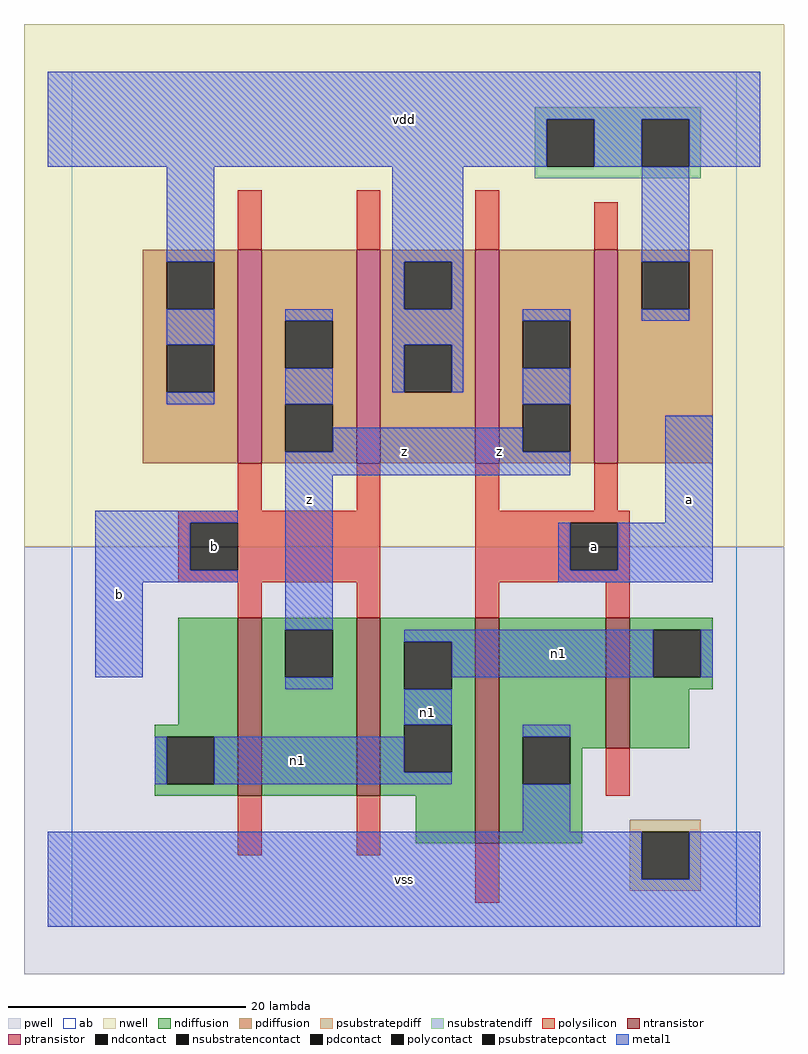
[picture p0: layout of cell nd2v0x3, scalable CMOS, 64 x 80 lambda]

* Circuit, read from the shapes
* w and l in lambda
.subckt nd2v0x3 a b n1 vdd vss z
M1 z b n1 vss nfet w=15 l=2 m=2
M2 vss a n1 vss nfet w=19 l=2
M3 n1 a vss vss nfet w=11 l=2
M4 z b vdd vdd pfet w=18 l=2 m=2
M5 z a vdd vdd pfet w=18 l=2 m=2
.ends

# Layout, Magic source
magic
tech scmos
<< ab >>
rect 0 0 56 72
<< pwell >>
rect -4 -4 60 32
<< nwell >>
rect -4 32 60 76
<< polysilicon >>
rect 14 57 16 62
rect 24 57 26 62
rect 34 57 36 62
rect 44 57 46 61
rect 14 35 16 39
rect 24 35 26 39
rect 9 34 26 35
rect 9 30 10 34
rect 14 30 26 34
rect 9 29 26 30
rect 14 26 16 29
rect 24 26 26 29
rect 34 35 36 39
rect 44 35 46 39
rect 34 34 47 35
rect 34 30 42 34
rect 46 30 47 34
rect 34 29 47 30
rect 34 26 36 29
rect 45 26 47 29
rect 14 6 16 11
rect 24 6 26 11
rect 45 11 47 15
rect 34 2 36 7
<< ndiffusion >>
rect 9 17 14 26
rect 7 16 14 17
rect 7 12 8 16
rect 12 12 14 16
rect 7 11 14 12
rect 16 25 24 26
rect 16 21 18 25
rect 22 21 24 25
rect 16 11 24 21
rect 26 24 34 26
rect 26 20 28 24
rect 32 20 34 24
rect 26 17 34 20
rect 26 13 28 17
rect 32 13 34 17
rect 26 11 34 13
rect 29 7 34 11
rect 36 16 45 26
rect 36 12 38 16
rect 42 15 45 16
rect 47 25 54 26
rect 47 21 49 25
rect 53 21 54 25
rect 47 20 54 21
rect 47 15 52 20
rect 42 12 43 15
rect 36 7 43 12
<< pdiffusion >>
rect 6 56 14 57
rect 6 52 8 56
rect 12 52 14 56
rect 6 49 14 52
rect 6 45 8 49
rect 12 45 14 49
rect 6 39 14 45
rect 16 51 24 57
rect 16 47 18 51
rect 22 47 24 51
rect 16 44 24 47
rect 16 40 18 44
rect 22 40 24 44
rect 16 39 24 40
rect 26 56 34 57
rect 26 52 28 56
rect 32 52 34 56
rect 26 49 34 52
rect 26 45 28 49
rect 32 45 34 49
rect 26 39 34 45
rect 36 51 44 57
rect 36 47 38 51
rect 42 47 44 51
rect 36 44 44 47
rect 36 40 38 44
rect 42 40 44 44
rect 36 39 44 40
rect 46 56 54 57
rect 46 52 48 56
rect 52 52 54 56
rect 46 39 54 52
<< metal1 >>
rect -2 68 58 72
rect -2 64 40 68
rect 44 64 48 68
rect 52 64 58 68
rect 8 56 12 64
rect 27 56 33 64
rect 27 52 28 56
rect 32 52 33 56
rect 48 56 52 64
rect 8 49 12 52
rect 8 44 12 45
rect 18 51 22 52
rect 18 44 22 47
rect 27 49 33 52
rect 27 45 28 49
rect 32 45 33 49
rect 38 51 42 52
rect 48 51 52 52
rect 38 44 42 47
rect 22 40 38 42
rect 18 38 42 40
rect 2 34 14 35
rect 2 30 10 34
rect 2 29 14 30
rect 2 21 6 29
rect 18 25 22 38
rect 50 34 54 43
rect 41 30 42 34
rect 46 30 54 34
rect 41 29 54 30
rect 18 20 22 21
rect 28 24 49 25
rect 32 21 49 24
rect 53 21 54 25
rect 28 17 32 20
rect 7 12 8 16
rect 12 13 28 16
rect 12 12 32 13
rect 38 16 42 17
rect 38 8 42 12
rect -2 4 48 8
rect 52 4 58 8
rect -2 0 58 4
<< ntransistor >>
rect 14 11 16 26
rect 24 11 26 26
rect 34 7 36 26
rect 45 15 47 26
<< ptransistor >>
rect 14 39 16 57
rect 24 39 26 57
rect 34 39 36 57
rect 44 39 46 57
<< polycontact >>
rect 10 30 14 34
rect 42 30 46 34
<< ndcontact >>
rect 8 12 12 16
rect 18 21 22 25
rect 28 20 32 24
rect 28 13 32 17
rect 38 12 42 16
rect 49 21 53 25
<< pdcontact >>
rect 8 52 12 56
rect 8 45 12 49
rect 18 47 22 51
rect 18 40 22 44
rect 28 52 32 56
rect 28 45 32 49
rect 38 47 42 51
rect 38 40 42 44
rect 48 52 52 56
<< psubstratepcontact >>
rect 48 4 52 8
<< nsubstratencontact >>
rect 40 64 44 68
rect 48 64 52 68
<< psubstratepdiff >>
rect 47 8 53 9
rect 47 4 48 8
rect 52 4 53 8
rect 47 3 53 4
<< nsubstratendiff >>
rect 39 68 53 69
rect 39 64 40 68
rect 44 64 48 68
rect 52 64 53 68
rect 39 63 53 64
<< labels >>
rlabel metal1 4 28 4 28 6 b
rlabel polycontact 12 32 12 32 6 b
rlabel metal1 20 36 20 36 6 z
rlabel metal1 28 4 28 4 6 vss
rlabel metal1 19 14 19 14 6 n1
rlabel metal1 30 18 30 18 6 n1
rlabel metal1 36 40 36 40 6 z
rlabel metal1 28 40 28 40 6 z
rlabel metal1 28 68 28 68 6 vdd
rlabel polycontact 44 32 44 32 6 a
rlabel metal1 41 23 41 23 6 n1
rlabel metal1 52 36 52 36 6 a
<< end >>
